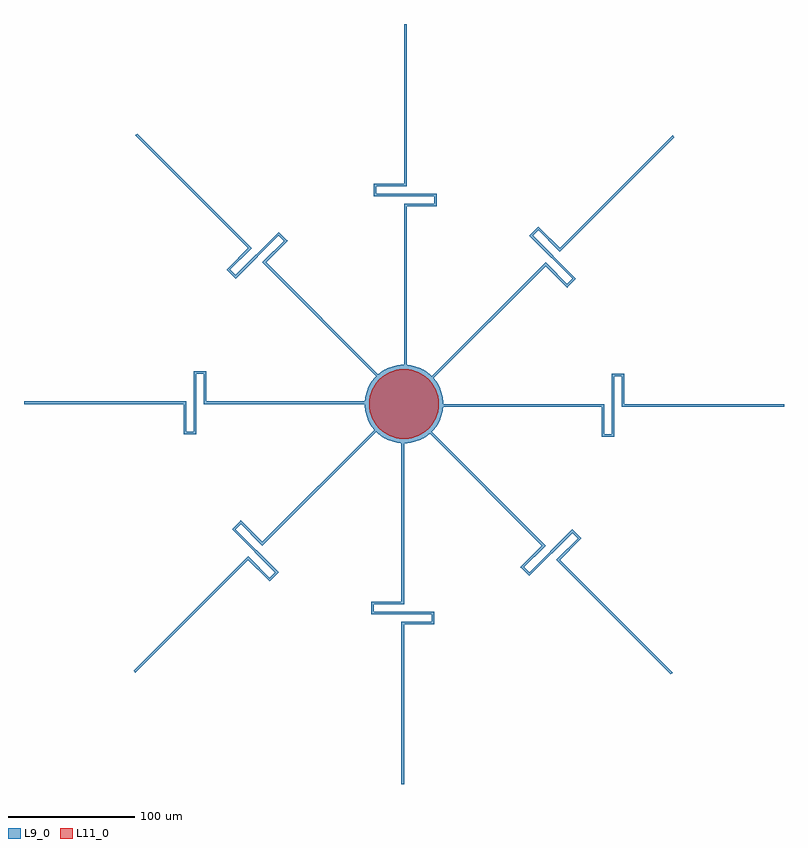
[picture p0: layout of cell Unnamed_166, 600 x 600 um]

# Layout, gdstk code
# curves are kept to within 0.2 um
from math import pi, radians
import gdstk
lib = gdstk.Library(unit=1e-6, precision=1e-09)
def R(c, l, rs):  # rectangles x0, y0, x1, y1
    for r in rs: c.add(gdstk.rectangle(r[:2], r[2:], *l))
def P(c, l, *ps):  # polygons
    for p in ps: c.add(gdstk.Polygon(p, *l))
L9_0 = (9, 0)
L11_0 = (11, 0)

circle_r31_ar2p5_l9_0 = lib.new_cell('circle_R31_AR2p5_L9_0')
P(circle_r31_ar2p5_l9_0, L9_0, [(0,-31),(-5.383,-30.529),(-11.863,-28.64),(-17.781,-25.394),(-21.92,-21.92),(-25.394,-17.781),(-28.64,-11.863),(-30.529,-5.383),(-31,0),(-30.529,5.383),(-28.64,11.863),(-25.394,17.781),(-21.92,21.92),(-17.781,25.394),(-11.863,28.64),(-5.383,30.529),(0,31),(5.383,30.529),(11.863,28.64),(17.781,25.394),(21.92,21.92),(25.394,17.781),(28.64,11.863),(30.529,5.383),(31,0),(30.529,-5.383),(28.64,-11.863),(25.394,-17.781),(21.92,-21.92),(17.781,-25.394),(11.863,-28.64),(5.383,-30.529)])

rectangle_s50_2_l9_0_cf_ = lib.new_cell('rectangle_S50_2_L9_0_CF_7b202ac9')
R(rectangle_s50_2_l9_0_cf_, L9_0, [(0,0,50,2)])

rectangle_s2_6_l9_0_cfa_ = lib.new_cell('rectangle_S2_6_L9_0_CFa_6e69fcce')
R(rectangle_s2_6_l9_0_cfa_, L9_0, [(0,0,2,6)])

rectangle_s26_2_l9_0_cf_ = lib.new_cell('rectangle_S26_2_L9_0_CF_7241b5a4')
R(rectangle_s26_2_l9_0_cf_, L9_0, [(0,0,26,2)])

rectangle_s2_126_l9_0_c_ = lib.new_cell('rectangle_S2_126_L9_0_C_b187a1dd')
R(rectangle_s2_126_l9_0_c_, L9_0, [(0,0,2,126)])

unnamed_167 = lib.new_cell('Unnamed_167')
unnamed_167.add(gdstk.Reference(rectangle_s50_2_l9_0_cf_, (-24,134)))
unnamed_167.add(gdstk.Reference(rectangle_s2_6_l9_0_cfa_, (24,128)))
unnamed_167.add(gdstk.Reference(rectangle_s2_6_l9_0_cfa_, (-24,136)))
unnamed_167.add(gdstk.Reference(rectangle_s26_2_l9_0_cf_, (0,126)))
unnamed_167.add(gdstk.Reference(rectangle_s26_2_l9_0_cf_, (-24,142)))
unnamed_167.add(gdstk.Reference(rectangle_s2_126_l9_0_c_, (0,0)))
unnamed_167.add(gdstk.Reference(rectangle_s2_126_l9_0_c_, (0,144)))

unnamed_168 = lib.new_cell('Unnamed_168')
unnamed_168.add(gdstk.Reference(unnamed_167, (0,30)))

circle_r27p5_ar2p5_l11_0 = lib.new_cell('circle_R27p5_AR2p5_L11_0')
P(circle_r27p5_ar2p5_l11_0, L11_0, [(0,-27.5),(-5.952,-26.848),(-10.524,-25.407),(-15.773,-22.527),(-19.445,-19.445),(-22.527,-15.773),(-25.407,-10.524),(-26.848,-5.952),(-27.5,0),(-26.848,5.952),(-25.407,10.524),(-22.527,15.773),(-19.445,19.445),(-15.773,22.527),(-10.524,25.407),(-5.952,26.848),(0,27.5),(5.952,26.848),(10.524,25.407),(15.773,22.527),(19.445,19.445),(22.527,15.773),(25.407,10.524),(26.848,5.952),(27.5,0),(26.848,-5.952),(25.407,-10.524),(22.527,-15.773),(19.445,-19.445),(15.773,-22.527),(10.524,-25.407),(5.952,-26.848)])

unnamed_166 = lib.new_cell('Unnamed_166')
unnamed_166.add(gdstk.Reference(circle_r31_ar2p5_l9_0, (0,0)))
unnamed_166.add(gdstk.Reference(unnamed_168, (0,0), rotation=radians(315)))
unnamed_166.add(gdstk.Reference(unnamed_168, (0,0), rotation=3*pi/2))
unnamed_166.add(gdstk.Reference(unnamed_168, (0,0), rotation=radians(225)))
unnamed_166.add(gdstk.Reference(circle_r27p5_ar2p5_l11_0, (0,0)))
unnamed_166.add(gdstk.Reference(unnamed_168, (0,0), rotation=pi/2))
unnamed_166.add(gdstk.Reference(unnamed_168, (0,0), rotation=pi))
unnamed_166.add(gdstk.Reference(unnamed_168, (0,0)))
unnamed_166.add(gdstk.Reference(unnamed_168, (0,0), rotation=radians(135)))
unnamed_166.add(gdstk.Reference(unnamed_168, (0,0), rotation=radians(45)))

lib.write_gds('Unnamed_166.gds')
